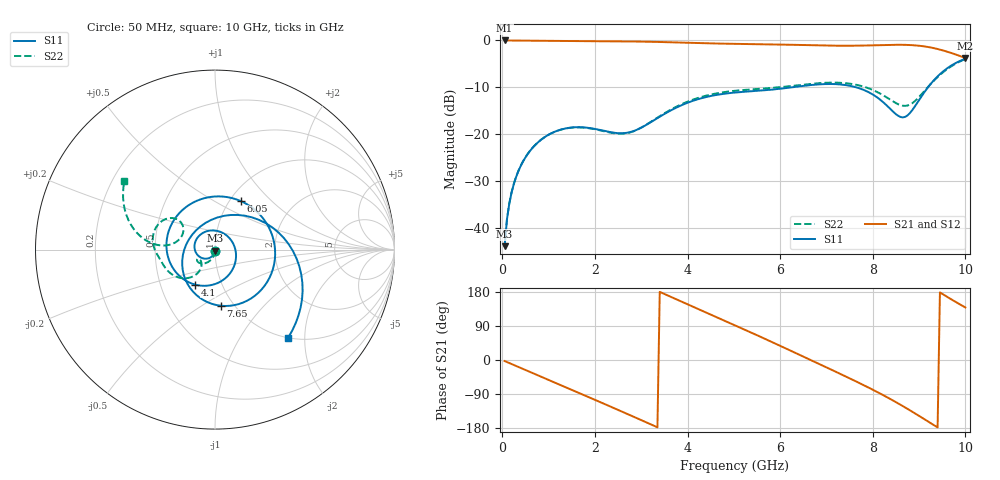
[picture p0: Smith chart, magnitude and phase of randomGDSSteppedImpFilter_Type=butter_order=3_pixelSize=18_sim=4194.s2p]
! freq	dB(S11)	phase(S11)	dB(S12)	phase(S12)
!  dB(S21)	phase(S21)	dB(S22)	phase(S22)
!S-par simulation data
#  GHz  S  DB  R 50
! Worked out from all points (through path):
!   200 points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, 50 MHz to 10 GHz, reference 50 ohm
!   highest |S21| = -0.01 dB at 50 MHz (marker M1); lowest = -3.8 dB at 10 GHz (marker M2)
!   group delay of S21, straight-line fit = 158 ps
!   lowest |S11| = -44.0 dB at 50 MHz (marker M3), VSWR 1.01, Z = 50 - j0.632 ohm
!   |S11| at or under -10 dB: start of sweep to 6.275 GHz; 7.632 GHz to 9.194 GHz (1.562 GHz wide, 18.6 % of centre)
!   |S22| runs from -43.9 to -4.0 dB; largest |S21 - S12| = 0
!   S11 on the Smith chart (normalised r, x): 50 MHz: 1.00, -0.01; 4.1 GHz: 0.74, -0.31; 6.05 GHz: 1.13, +0.67; 7.65 GHz: 0.87, -0.61; 10 GHz: 1.00, -1.66
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0.05  -43.98 -88.0  -0.01 -2.7  -0.01 -2.7  -43.94 -86.6
0.1  -38.33 -93.6  -0.01 -5.3  -0.01 -5.3  -38.29 -90.9
0.2  -32.52 -102.4  -0.02 -10.6  -0.02 -10.6  -32.48 -96.9
0.5  -25.00 -123.9  -0.05 -26.4  -0.05 -26.4  -24.97 -109.8
1.15  -19.45 -169.6  -0.12 -60.5  -0.12 -60.5  -19.45 -133.3
1.75  -18.58 143.0  -0.16 -91.9  -0.16 -91.9  -18.63 -148.7
2.2  -19.33 98.4  -0.18 -115.7  -0.18 -115.7  -19.43 -151.3
2.7  -19.72 34.0  -0.22 -142.4  -0.22 -142.4  -19.82 -139.3
3.4  -16.31 -54.2  -0.33 179.7  -0.33 179.7  -16.19 -126.2
4.1  -12.97 -120.0  -0.53 141.8  -0.53 141.8  -12.72 -136.3
4.6  -11.69 -162.8  -0.66 114.8  -0.66 114.8  -11.37 -147.5
5.05  -11.12 157.6  -0.74 90.3  -0.74 90.3  -10.74 -157.0
5.55  -10.75 110.7  -0.81 62.7  -0.81 62.7  -10.35 -165.7
6.05  -10.28 61.5  -0.89 34.6  -0.89 34.6  -9.94 -173.1
6.7  -9.51 -0.5  -1.04 -2.4  -1.04 -2.4  -9.25 175.4
7.15  -9.33 -40.4  -1.13 -28.1  -1.13 -28.1  -9.02 164.8
7.65  -10.05 -84.0  -1.12 -57.2  -1.12 -57.2  -9.49 151.5
8.35  -14.36 -162.4  -0.95 -101.0  -0.95 -101.0  -12.49 141.8
8.7  -16.34 121.9  -0.95 -125.3  -0.95 -125.3  -13.99 156.6
9.2  -9.92 27.4  -1.42 -162.7  -1.42 -162.7  -9.86 175.4
9.6  -6.01 -16.2  -2.39 167.1  -2.39 167.1  -6.18 163.3
10  -3.90 -50.4  -3.76 138.6  -3.76 138.6  -3.98 143.0
